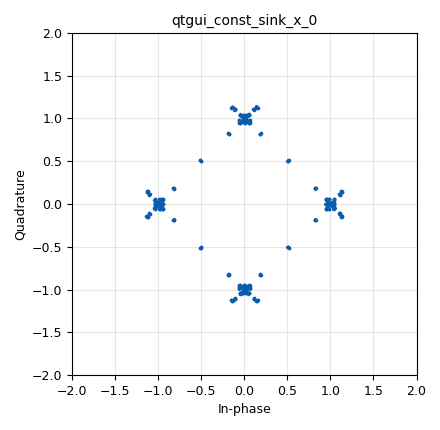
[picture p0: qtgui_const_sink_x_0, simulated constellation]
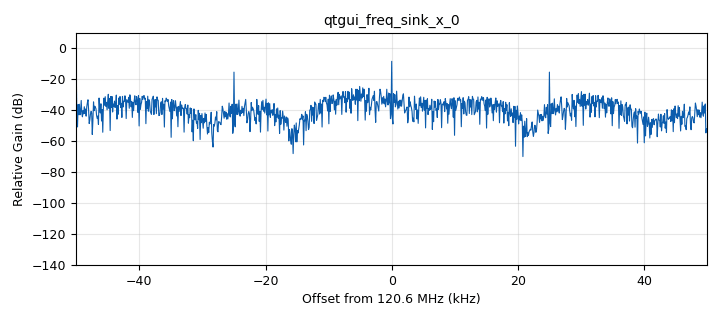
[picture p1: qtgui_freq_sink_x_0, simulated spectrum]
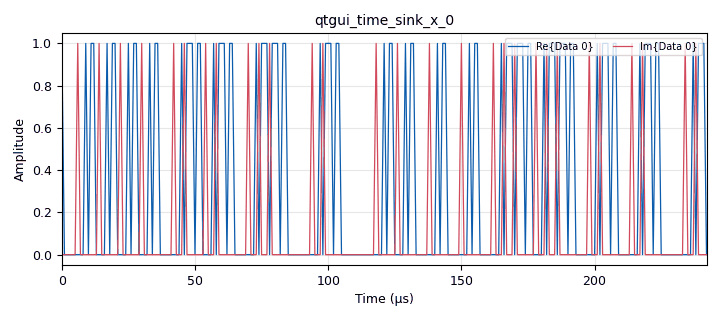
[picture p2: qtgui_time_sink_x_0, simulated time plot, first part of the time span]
<?xml version='1.0' encoding='utf-8'?>
<?grc format='1' created='3.7.13'?>
<flow_graph>
<block>
<key>options</key>
<param><key>id</key><value>top_block</value></param>
<param><key>generate_options</key><value>qt_gui</value></param>
</block>
<block>
<key>variable</key>
<param><key>id</key><value>samp_rate</value></param>
<param><key>value</key><value>20000000</value></param>
</block>
<block>
<key>analog_sig_source_x</key>
<param><key>id</key><value>analog_sig_source_x_0</value></param>
<param><key>amp</key><value>1</value></param>
<param><key>freq</key><value>1000</value></param>
<param><key>offset</key><value>0</value></param>
<param><key>type</key><value>complex</value></param>
<param><key>samp_rate</key><value>samp_rate</value></param>
<param><key>waveform</key><value>analog.GR_COS_WAVE</value></param>
</block>
<block>
<key>blocks_complex_to_float</key>
<param><key>id</key><value>blocks_complex_to_float_0</value></param>
<param><key>_enabled</key><value>0</value></param>
</block>
<block>
<key>blocks_complex_to_mag</key>
<param><key>id</key><value>blocks_complex_to_mag_0</value></param>
<param><key>_enabled</key><value>0</value></param>
</block>
<block>
<key>blocks_complex_to_mag_squared</key>
<param><key>id</key><value>blocks_complex_to_mag_squared_0</value></param>
<param><key>_enabled</key><value>0</value></param>
</block>
<block>
<key>blocks_conjugate_cc</key>
<param><key>id</key><value>blocks_conjugate_cc_0</value></param>
<param><key>_enabled</key><value>0</value></param>
</block>
<block>
<key>blocks_delay</key>
<param><key>id</key><value>blocks_delay_0</value></param>
<param><key>delay</key><value>320</value></param>
<param><key>_enabled</key><value>0</value></param>
<param><key>type</key><value>complex</value></param>
</block>
<block>
<key>blocks_divide_xx</key>
<param><key>id</key><value>blocks_divide_xx_0</value></param>
<param><key>_enabled</key><value>0</value></param>
<param><key>type</key><value>float</value></param>
</block>
<block>
<key>blocks_float_to_complex</key>
<param><key>id</key><value>blocks_float_to_complex_0</value></param>
<param><key>_enabled</key><value>0</value></param>
</block>
<block>
<key>blocks_interleaved_char_to_complex</key>
<param><key>id</key><value>blocks_interleaved_char_to_complex_0</value></param>
<param><key>vector_input</key><value>False</value></param>
</block>
<block>
<key>blocks_moving_average_xx</key>
<param><key>id</key><value>blocks_moving_average_xx_0</value></param>
<param><key>_enabled</key><value>0</value></param>
<param><key>length</key><value>64</value></param>
<param><key>max_iter</key><value>4000</value></param>
<param><key>scale</key><value>1</value></param>
<param><key>type</key><value>float</value></param>
</block>
<block>
<key>blocks_moving_average_xx</key>
<param><key>id</key><value>blocks_moving_average_xx_1</value></param>
<param><key>_enabled</key><value>0</value></param>
<param><key>length</key><value>48</value></param>
<param><key>max_iter</key><value>4000</value></param>
<param><key>scale</key><value>1</value></param>
<param><key>type</key><value>complex</value></param>
</block>
<block>
<key>blocks_multiply_xx</key>
<param><key>id</key><value>blocks_multiply_xx_0</value></param>
<param><key>_enabled</key><value>0</value></param>
<param><key>type</key><value>complex</value></param>
</block>
<block>
<key>blocks_multiply_xx</key>
<param><key>id</key><value>blocks_multiply_xx_1</value></param>
<param><key>type</key><value>complex</value></param>
</block>
<block>
<key>blocks_throttle</key>
<param><key>id</key><value>blocks_throttle_0</value></param>
<param><key>samples_per_second</key><value>samp_rate</value></param>
<param><key>type</key><value>complex</value></param>
</block>
<block>
<key>blocks_vector_source_x</key>
<param><key>id</key><value>blocks_vector_source_x_0</value></param>
<param><key>type</key><value>byte</value></param>
<param><key>repeat</key><value>True</value></param>
<param><key>vector</key><value>(1 ,1)</value></param>
</block>
<block>
<key>digital_descrambler_bb</key>
<param><key>id</key><value>digital_descrambler_bb_0</value></param>
<param><key>len</key><value>11</value></param>
<param><key>mask</key><value>0x8A</value></param>
<param><key>seed</key><value>0x5A8</value></param>
</block>
<block>
<key>digital_dxpsk_demod</key>
<param><key>id</key><value>digital_dxpsk_demod_0</value></param>
<param><key>excess_bw</key><value>0.35</value></param>
<param><key>freq_bw</key><value>6.28/100.0</value></param>
<param><key>mod_code</key><value>"gray"</value></param>
<param><key>log</key><value>True</value></param>
<param><key>phase_bw</key><value>6.28/100.0</value></param>
<param><key>samples_per_symbol</key><value>4</value></param>
<param><key>sync_out</key><value>True</value></param>
<param><key>timing_bw</key><value>6.28/100.0</value></param>
<param><key>type</key><value>dqpsk</value></param>
<param><key>verbose</key><value>False</value></param>
</block>
<block>
<key>digital_dxpsk_mod</key>
<param><key>id</key><value>digital_dxpsk_mod_1</value></param>
<param><key>excess_bw</key><value>0.35</value></param>
<param><key>mod_code</key><value>"gray"</value></param>
<param><key>log</key><value>False</value></param>
<param><key>samples_per_symbol</key><value>4</value></param>
<param><key>type</key><value>dqpsk</value></param>
<param><key>verbose</key><value>False</value></param>
</block>
<block>
<key>digital_scrambler_bb</key>
<param><key>id</key><value>digital_scrambler_bb_0</value></param>
<param><key>len</key><value>11</value></param>
<param><key>mask</key><value>0x8A</value></param>
<param><key>seed</key><value>0x5A8</value></param>
</block>
<block>
<key>note</key>
<param><key>id</key><value>note_0</value></param>
<param><key>note</key><value>La capa física corresponde a la capa más baja del modelo de referencia OSI. Es
la encargada de transmitir y recibir la información por el medio físico</value></param>
</block>
<block>
<key>note</key>
<param><key>id</key><value>note_1</value></param>
<param><key>note</key><value>Un sistema físico dependiente del medio, PMD, que define las distintas
técnicas de transmisión de la información a través de un medio sin cables; y
que establece los distintos tipos de modulaciones que los equipos deben
usar para poder acceder al medio.</value></param>
</block>
<block>
<key>qtgui_const_sink_x</key>
<param><key>id</key><value>qtgui_const_sink_x_0</value></param>
<param><key>size</key><value>1024</value></param>
<param><key>type</key><value>complex</value></param>
</block>
<block>
<key>qtgui_freq_sink_x</key>
<param><key>id</key><value>qtgui_freq_sink_x_0</value></param>
<param><key>bw</key><value>100e3</value></param>
<param><key>fc</key><value>120.6e6</value></param>
<param><key>fftsize</key><value>1024</value></param>
<param><key>showports</key><value>True</value></param>
<param><key>type</key><value>complex</value></param>
<param><key>wintype</key><value>firdes.WIN_RECTANGULAR</value></param>
</block>
<block>
<key>qtgui_time_sink_x</key>
<param><key>id</key><value>qtgui_time_sink_x_0</value></param>
<param><key>autoscale</key><value>True</value></param>
<param><key>color1</key><value>"blue"</value></param>
<param><key>label1</key><value></value></param>
<param><key>color2</key><value>"red"</value></param>
<param><key>label2</key><value></value></param>
<param><key>size</key><value>1024</value></param>
<param><key>srate</key><value>1e6</value></param>
<param><key>type</key><value>complex</value></param>
</block>
<connection><source_block_id>analog_sig_source_x_0</source_block_id><sink_block_id>blocks_multiply_xx_1</sink_block_id><source_key>0</source_key><sink_key>1</sink_key></connection>
<connection><source_block_id>blocks_complex_to_mag_0</source_block_id><sink_block_id>blocks_divide_xx_0</sink_block_id><source_key>0</source_key><sink_key>0</sink_key></connection>
<connection><source_block_id>blocks_complex_to_mag_squared_0</source_block_id><sink_block_id>blocks_moving_average_xx_0</sink_block_id><source_key>0</source_key><sink_key>0</sink_key></connection>
<connection><source_block_id>blocks_conjugate_cc_0</source_block_id><sink_block_id>blocks_multiply_xx_0</sink_block_id><source_key>0</source_key><sink_key>1</sink_key></connection>
<connection><source_block_id>blocks_divide_xx_0</source_block_id><sink_block_id>blocks_float_to_complex_0</sink_block_id><source_key>0</source_key><sink_key>0</sink_key></connection>
<connection><source_block_id>blocks_interleaved_char_to_complex_0</source_block_id><sink_block_id>blocks_complex_to_float_0</sink_block_id><source_key>0</source_key><sink_key>0</sink_key></connection>
<connection><source_block_id>blocks_interleaved_char_to_complex_0</source_block_id><sink_block_id>qtgui_freq_sink_x_0</sink_block_id><source_key>0</source_key><sink_key>0</sink_key></connection>
<connection><source_block_id>blocks_interleaved_char_to_complex_0</source_block_id><sink_block_id>qtgui_time_sink_x_0</sink_block_id><source_key>0</source_key><sink_key>0</sink_key></connection>
<connection><source_block_id>blocks_moving_average_xx_0</source_block_id><sink_block_id>blocks_divide_xx_0</sink_block_id><source_key>0</source_key><sink_key>1</sink_key></connection>
<connection><source_block_id>blocks_moving_average_xx_1</source_block_id><sink_block_id>blocks_complex_to_mag_0</sink_block_id><source_key>0</source_key><sink_key>0</sink_key></connection>
<connection><source_block_id>blocks_multiply_xx_0</source_block_id><sink_block_id>blocks_moving_average_xx_1</sink_block_id><source_key>0</source_key><sink_key>0</sink_key></connection>
<connection><source_block_id>blocks_multiply_xx_1</source_block_id><sink_block_id>blocks_throttle_0</sink_block_id><source_key>0</source_key><sink_key>0</sink_key></connection>
<connection><source_block_id>blocks_throttle_0</source_block_id><sink_block_id>digital_dxpsk_demod_0</sink_block_id><source_key>0</source_key><sink_key>0</sink_key></connection>
<connection><source_block_id>blocks_vector_source_x_0</source_block_id><sink_block_id>digital_scrambler_bb_0</sink_block_id><source_key>0</source_key><sink_key>0</sink_key></connection>
<connection><source_block_id>digital_descrambler_bb_0</source_block_id><sink_block_id>blocks_interleaved_char_to_complex_0</sink_block_id><source_key>0</source_key><sink_key>0</sink_key></connection>
<connection><source_block_id>digital_dxpsk_demod_0</source_block_id><sink_block_id>digital_descrambler_bb_0</sink_block_id><source_key>0</source_key><sink_key>0</sink_key></connection>
<connection><source_block_id>digital_dxpsk_mod_1</source_block_id><sink_block_id>blocks_multiply_xx_1</sink_block_id><source_key>0</source_key><sink_key>0</sink_key></connection>
<connection><source_block_id>digital_dxpsk_mod_1</source_block_id><sink_block_id>qtgui_const_sink_x_0</sink_block_id><source_key>0</source_key><sink_key>0</sink_key></connection>
<connection><source_block_id>digital_scrambler_bb_0</source_block_id><sink_block_id>digital_dxpsk_mod_1</sink_block_id><source_key>0</source_key><sink_key>0</sink_key></connection>
</flow_graph>
